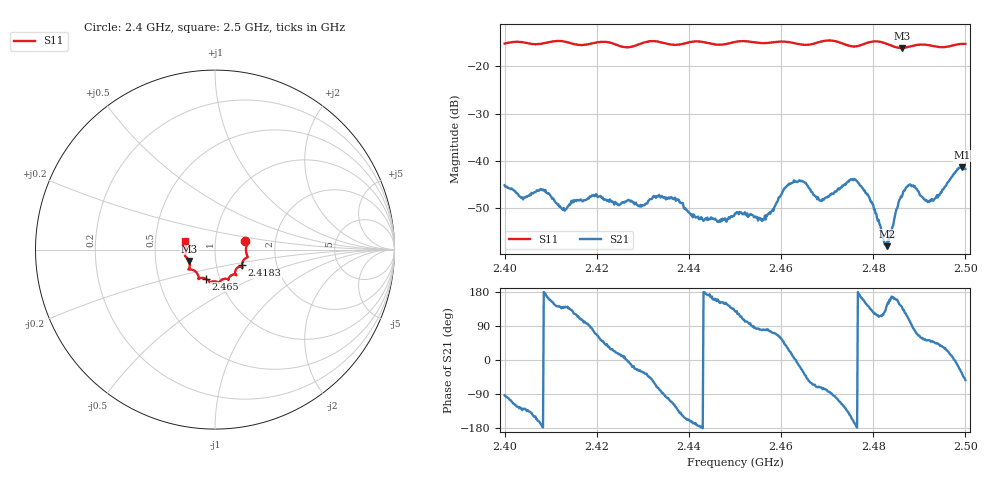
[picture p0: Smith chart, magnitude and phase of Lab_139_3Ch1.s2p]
# Hz S RI R 50
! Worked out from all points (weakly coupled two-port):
!   601 points, 2.4 GHz to 2.5 GHz, reference 50 ohm
!   highest |S21| = -41.45 dB at 2.4993 GHz (marker M1); lowest = -58.2 dB at 2.483 GHz (marker M2)
!   lowest |S11| = -16.1 dB at 2.4862 GHz (marker M3), VSWR 1.37, Z = 37.1 - j4.8 ohm
!   |S11| at or under -10 dB: start of sweep to end of sweep
!   S12 and S22 are empty: the file has one direction only
!   S11 on the Smith chart (normalised r, x): 2.4 GHz: 1.40, +0.13; 2.4183 GHz: 1.33, -0.24; 2.465 GHz: 0.86, -0.29; 2.5 GHz: 0.71, +0.07
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2.4e9  0.1692 0.0459  -0.000285 -0.00546  0 0  0 0
2.404e9  0.1788 0.0278  -0.00245 -0.00299  0 0  0 0
2.408333e9  0.175 -0.0199  -0.0049 -0.000157  0 0  0 0
2.412833e9  0.1795 -0.0433  -0.0024 0.00201  0 0  0 0
2.416667e9  0.1546 -0.0678  -0.00103 0.00364  0 0  0 0
2.418333e9  0.1499 -0.087  -8.43e-05 0.00396  0 0  0 0
2.433333e9  0.1174 -0.1411  0.00111 -0.004  0 0  0 0
2.442667e9  0.0734 -0.1679  -0.00251 -0.000119  0 0  0 0
2.45e9  0.0251 -0.1808  -0.00171 0.00213  0 0  0 0
2.456167e9  -0.00194 -0.177  0.000382 0.0023  0 0  0 0
2.461167e9  -0.0302 -0.1804  0.00426 0.00313  0 0  0 0
2.465e9  -0.0525 -0.1617  0.0048 -0.00343  0 0  0 0
2.466667e9  -0.0714 -0.1572  0.00222 -0.00409  0 0  0 0
2.468833e9  -0.0891 -0.1618  0.00105 -0.00356  0 0  0 0
2.476333e9  -0.1137 -0.1176  -0.0061 -0.000531  0 0  0 0
2.483e9  -0.1424 -0.0996  -0.00102 0.000698  0 0  0 0
2.483333e9  -0.1416 -0.0965  -0.00118 0.000701  0 0  0 0
2.486167e9  -0.144 -0.063  -0.00318 0.00257  0 0  0 0
2.488167e9  -0.158 -0.0452  -0.000571 0.00545  0 0  0 0
2.492667e9  -0.1648 -0.0228  0.00251 0.003  0 0  0 0
2.499333e9  -0.1681 0.0441  0.0067 -0.00517  0 0  0 0
2.5e9  -0.1672 0.047  0.00493 -0.00648  0 0  0 0
